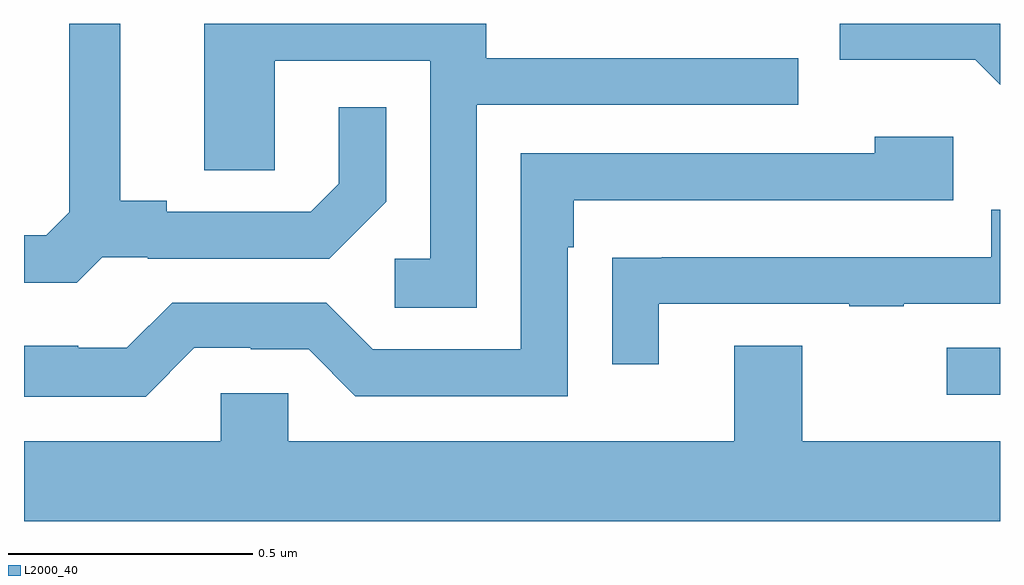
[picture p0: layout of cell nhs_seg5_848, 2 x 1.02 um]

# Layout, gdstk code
import gdstk
lib = gdstk.Library(unit=1e-6, precision=1e-09)
def R(c, l, rs):  # rectangles x0, y0, x1, y1
    for r in rs: c.add(gdstk.rectangle(r[:2], r[2:], *l))
def P(c, l, *ps):  # polygons
    for p in ps: c.add(gdstk.Polygon(p, *l))
L2000_40 = (2000, 40)

nhs_seg5_848 = lib.new_cell('nhs_seg5_848')
R(nhs_seg5_848, L2000_40, [(123.891,837.039,124,837.135)])
P(nhs_seg5_848, L2000_40, [(124,837.799),(123.672,837.799),(123.672,837.725),(123.949,837.725),(124,837.674)],
  [(122.16,837.321),(122.254,837.321),(122.254,837.318),(122.626,837.318),(122.742,837.434),(122.742,837.628),(122.645,837.628),(122.645,837.471),(122.588,837.414),(122.293,837.414),(122.293,837.437),(122.197,837.437),(122.197,837.799),(122.093,837.799),(122.093,837.413),(122.046,837.366),(122,837.366),(122,837.269),(122.108,837.269)],
  [(122.928,837.633),(123.587,837.633),(123.587,837.729),(122.947,837.729),(122.947,837.799),(122.369,837.799),(122.369,837.499),(122.514,837.499),(122.514,837.723),(122.832,837.723),(122.832,837.318),(122.76,837.318),(122.76,837.217),(122.928,837.217)],
  [(122.349,837.135),(122.465,837.135),(122.465,837.132),(122.583,837.132),(122.679,837.036),(123.114,837.036),(123.114,837.341),(123.127,837.341),(123.127,837.438),(123.904,837.438),(123.904,837.568),(123.743,837.568),(123.743,837.534),(123.018,837.534),(123.018,837.132),(122.715,837.132),(122.619,837.228),(122.304,837.228),(122.211,837.135),(122.111,837.135),(122.111,837.139),(122,837.139),(122,837.035),(122.249,837.035)],
  [(123.301,837.225),(123.691,837.225),(123.691,837.22),(123.803,837.22),(123.803,837.225),(124,837.225),(124,837.418),(123.982,837.418),(123.982,837.321),(123.307,837.321),(123.307,837.32),(123.205,837.32),(123.205,837.102),(123.301,837.102)],
  [(124,836.944),(123.595,836.944),(123.595,837.139),(123.455,837.139),(123.455,836.944),(122.541,836.944),(122.541,837.042),(122.403,837.042),(122.403,836.944),(122,836.944),(122,836.78),(124,836.78)])

lib.write_gds('nhs_seg5_848.gds')
